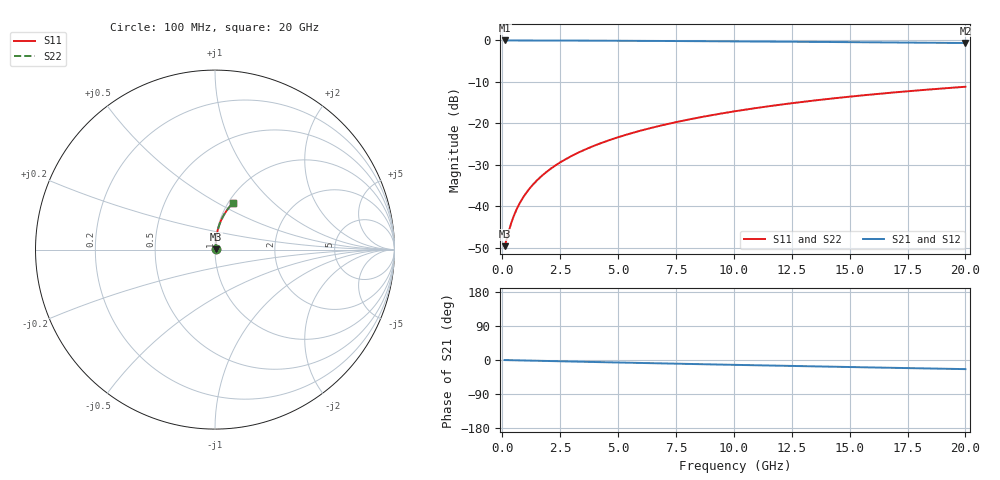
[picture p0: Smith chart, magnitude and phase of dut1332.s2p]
! Touchstone file exported from HFSS 2024.1.0
!  File:  C:/UserFiles/LocalFiles/RDL_TSV_Batchsim/temp_RDL_top_1332_1780365466.aedt
!  Generated:  10:00:19 AM Jun  2, 2026
!  Design:  RDL_top
!  Project:  temp_RDL_top_1332_1780365466
!  Setup:  Setup1
!  Solution:  Sweep
! Variables:
!  dtsv = 10.80580581um
!  hbump = 3um
!  htsv = 62.55um
!  ldown = 100um
!  lrdl = 297.49um
!  p = 40
!  p1 = 43.7um
!  rhole = 1um
!  t = 450um
!  tdown = 3.915915916um
!  trdl = 2.35um
!  wdown = 15.38538539um
!  wrdl = 16.42um
# GHz S MA R 50.000000
! Terminal data exported
! Port[1] = Box2_T1
! Port[2] = Box2_T2
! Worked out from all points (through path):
!   200 points, 100 MHz to 20 GHz, reference 50 ohm
!   highest |S21| = -0.03 dB at 100 MHz (marker M1); lowest = -0.6 dB at 20 GHz (marker M2)
!   group delay of S21, straight-line fit = 3.33 ps
!   lowest |S11| = -49.6 dB at 100 MHz (marker M3), VSWR 1.01, Z = 50.3 + j0.144 ohm
!   |S11| at or under -10 dB: start of sweep to end of sweep
!   |S22| runs from -49.6 to -11.2 dB; largest |S21 - S12| = 3e-15
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0.1  0.003327 25.6  0.997 -0.1  0.997 -0.1  0.003327 25.6
! Gamma 0 0 0 0
! Port Impedance 50 0 50 0
0.3  0.005279 53.8  0.9969 -0.4  0.9969 -0.4  0.005279 53.8
0.4  0.006482 60.5  0.9968 -0.6  0.9968 -0.6  0.006483 60.5
0.5  0.007729 65.0  0.9967 -0.7  0.9967 -0.7  0.007729 65.0
0.6  0.008994 68.1  0.9966 -0.8  0.9966 -0.8  0.008995 68.1
0.7  0.01027 70.6  0.9965 -1.0  0.9965 -1.0  0.01027 70.6
0.9  0.01284 74.0  0.9963 -1.2  0.9963 -1.2  0.01284 74.0
1.2  0.01672 77.2  0.996 -1.6  0.996 -1.6  0.01672 77.2
1.4  0.01933 78.6  0.9957 -1.9  0.9957 -1.9  0.01933 78.6
1.7  0.02328 80.1  0.9954 -2.3  0.9954 -2.3  0.02328 80.1
2.2  0.02991 81.8  0.9947 -3.0  0.9947 -3.0  0.02991 81.8
2.8  0.03795 82.8  0.9938 -3.8  0.9938 -3.8  0.03795 82.8
3.5  0.04744 83.5  0.9924 -4.7  0.9924 -4.7  0.04744 83.5
4.2  0.05704 83.7  0.9909 -5.6  0.9909 -5.6  0.05704 83.7
5  0.06813 83.7  0.9888 -6.6  0.9888 -6.6  0.06813 83.7
5.9  0.08076 83.4  0.9862 -7.8  0.9862 -7.8  0.08076 83.4
6.8  0.09351 82.9  0.9834 -8.9  0.9834 -8.9  0.09352 82.9
8.4  0.1164 81.7  0.978 -10.9  0.978 -10.9  0.1164 81.7
10.1  0.1408 80.1  0.9717 -12.9  0.9717 -12.9  0.1408 80.1
13.4  0.1877 76.6  0.9584 -16.8  0.9584 -16.8  0.1877 76.6
16.7  0.233 72.8  0.9441 -20.5  0.9441 -20.5  0.233 72.8
20  0.2762 69.1  0.929 -24.1  0.929 -24.1  0.2762 69.1
